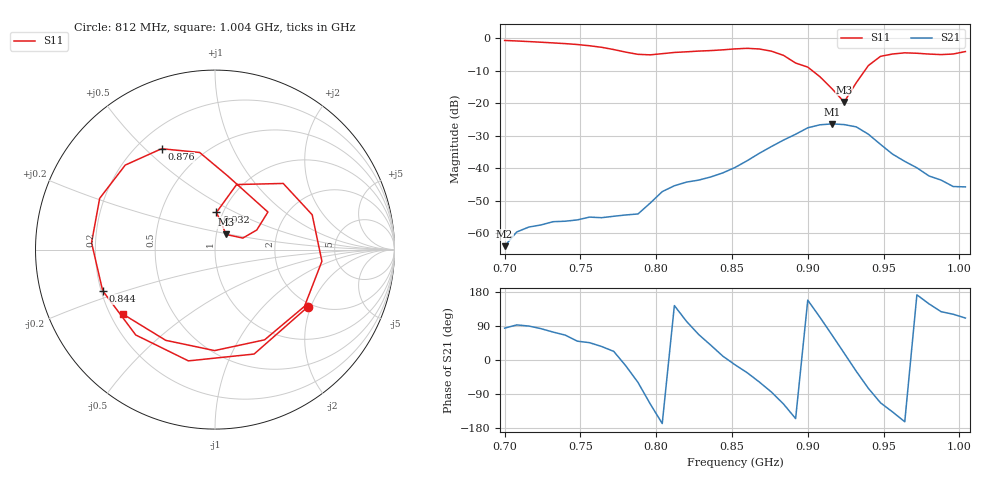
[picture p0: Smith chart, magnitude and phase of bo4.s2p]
# Hz S RI R 50
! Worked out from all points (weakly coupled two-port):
!   39 points, 700 MHz to 1.004 GHz, reference 50 ohm
!   highest |S21| = -26.32 dB at 916 MHz (marker M1); lowest = -64.0 dB at 700 MHz (marker M2)
!   lowest |S11| = -19.6 dB at 924 MHz (marker M3), VSWR 1.23, Z = 55.8 + j9.49 ohm
!   |S11| at or under -10 dB: 903.2 MHz to 937.5 MHz (34.37 MHz wide, 3.73 % of centre)
!   S12 and S22 are empty: the file has one direction only
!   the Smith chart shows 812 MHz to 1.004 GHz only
!   S11 on the Smith chart (normalised r, x): 812 MHz: 1.88, -1.90; 844 MHz: 0.21, -0.17; 876 MHz: 0.30, +0.56; 932 MHz: 0.93, +0.40; 1.004 GHz: 0.25, -0.30
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7e8  0.7634 0.5298  6.51e-05 0.00063  0 0  0 0
7.24e8  0.8337 -0.2579  0.00017 0.00133  0 0  0 0
7.4e8  0.4431 -0.7027  0.000631 0.0014  0 0  0 0
7.56e8  -0.1988 -0.7441  0.00124 0.00127  0 0  0 0
7.72e8  -0.6492 -0.1782  0.00168 0.000707  0 0  0 0
7.8e8  -0.5653 0.2403  0.00184 -0.000516  0 0  0 0
7.88e8  -0.205 0.5301  0.00102 -0.0017  0 0  0 0
8.04e8  0.57 0.1155  -0.00428 -0.000934  0 0  0 0
8.12e8  0.5168 -0.3194  -0.00434 0.0032  0 0  0 0
8.28e8  -0.1482 -0.62  0.00253 0.00607  0 0  0 0
8.44e8  -0.6258 -0.2292  0.00838 0.00149  0 0  0 0
8.52e8  -0.6877 0.0385  0.01 -0.00225  0 0  0 0
8.76e8  -0.2977 0.562  0.0021 -0.0215  0 0  0 0
9e8  0.2947 0.2094  -0.0389 0.0158  0 0  0 0
9.08e8  0.233 0.1094  -0.0182 0.043  0 0  0 0
9.16e8  0.1552 0.0643  0.0197 0.0441  0 0  0 0
9.24e8  0.0623 0.0842  0.0447 0.0148  0 0  0 0
9.32e8  0.00822 0.2075  0.0377 -0.0216  0 0  0 0
9.48e8  0.3802 0.3685  -0.00911 -0.0215  0 0  0 0
9.56e8  0.5414 0.1941  -0.0121 -0.0112  0 0  0 0
9.8e8  0.2764 -0.5027  -0.00647 0.00402  0 0  0 0
1.004e9  -0.5146 -0.3585  -0.00183 0.00484  0 0  0 0
